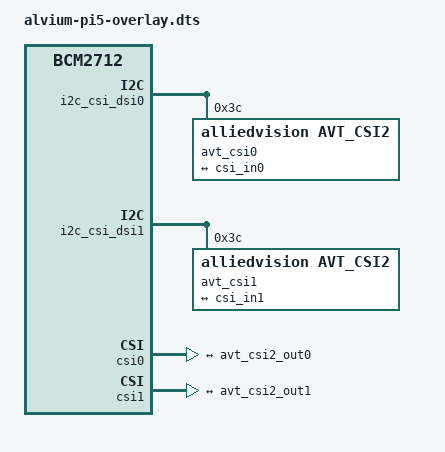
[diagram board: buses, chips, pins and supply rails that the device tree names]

/dts-v1/;
/plugin/;

/{
    compatible = "bcrm,bcm2712";
    fragment@0 {
        target = <&i2c_csi_dsi0>;

        __overlay__ {
            #address-cells = <1>;
            #size-cells = <0>;

            status = "okay";

            avt_csi0@3c {
                reg = <0x3c>;
                compatible = "alliedvision,avt_csi2";

                streamon_delay = <1>;

                port {
                    avt_csi2_out0: endpoint {
                        data-lanes = <1 2 3 4>;
                        clock-lanes = <0>;
                        link-frequencies = /bits/ 64 <750000000>;
                        remote-endpoint = <&csi_in0>;
                    };
                };
            };
        };
    };
    
    fragment@1 {
        target = <&i2c_csi_dsi1>;

        __overlay__ {
            #address-cells = <1>;
            #size-cells = <0>;

            status = "okay";

            avt_csi1@3c {
                reg = <0x3c>;
                compatible = "alliedvision,avt_csi2";

                streamon_delay = <1>;

                port {
                    avt_csi2_out1: endpoint {
                        data-lanes = <1 2 3 4>;
                        clock-lanes = <0>;
                        link-frequencies = /bits/ 64 <750000000>;
                        remote-endpoint = <&csi_in1>;
                    };
                };
            };
        };
    };


    fragment@2 {
        target = <&csi0>;
        __overlay__ {
            status = "okay";

            ports {
                #address-cells = <1>;
                #size-cells = <0>;

                port@0 {
                    reg = <0>;

                    csi_in0: endpoint {
                        remote-endpoint = <&avt_csi2_out0>;
                    };
                };
            };
        };
    };

    fragment@3 {
        target = <&csi1>;
        __overlay__ {
            status = "okay";

            ports {
                #address-cells = <1>;
                #size-cells = <0>;

                port@0 {
                    reg = <0>;

                    csi_in1: endpoint {
                        remote-endpoint = <&avt_csi2_out1>;
                    };
                };
            };
        };
    };
};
